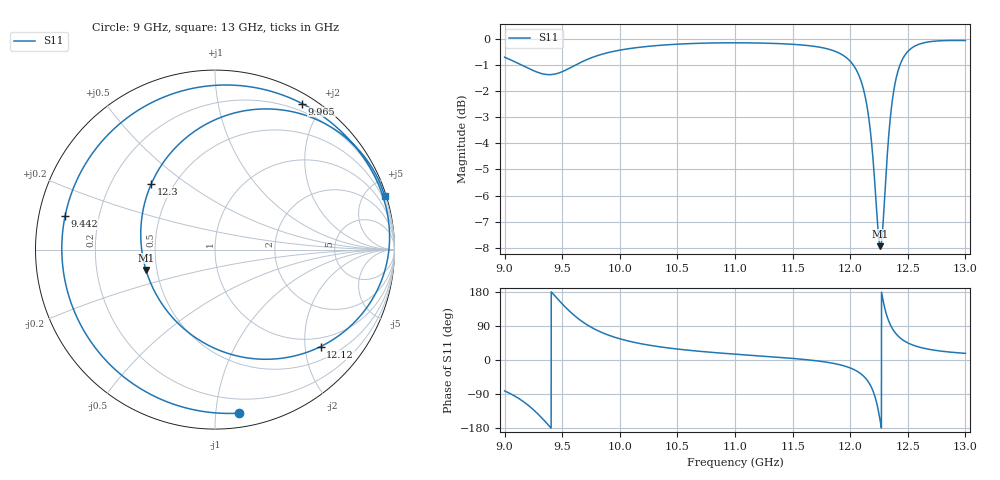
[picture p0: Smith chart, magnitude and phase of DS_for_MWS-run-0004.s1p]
! TOUCHSTONE file generated by CST DESIGN STUDIO
! Date and time: Tue Feb  4 17:47:16 2025
! Project name: C:\Work\MatlabApps\UnitCellOptimizationMatlab\CST\unitcell.cst
! Tree item: Tasks\Sweep1\SPara1\S-Parameters
! Header version: 2024
! Port assignment regex: !\s*Touchstone port\s*([0-9]+)\s*=\s*(CST MWS port|CST DES external port|CST DES block port)\s*(.+)\s* \(\"(.*)\"\)(\s*mode\s*([0-9]+))?.*
! Touchstone port assignment:
! Touchstone port 1 = CST DES external port 1 ("")
# GHz S MA R 50
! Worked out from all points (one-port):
!   4001 points, 9 GHz to 13 GHz, reference 50 ohm
!   lowest |S11| = -7.9 dB at 12.26 GHz (marker M1), VSWR 2.34, Z = 21.7 - j5.89 ohm
!   |S11| at or under -10 dB: nowhere
!   S11 on the Smith chart (normalised r, x): 9 GHz: 0.10, -1.15; 9.442 GHz: 0.08, +0.11; 9.965 GHz: 0.11, +1.76; 12.12 GHz: 0.78, -2.34; 12.3 GHz: 0.38, +0.37; 13 GHz: 0.18, +6.47
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9  0.9213 -81.6
9.129  0.8943 -102.8
9.23  0.8725 -125.8
9.348  0.8548 -161.0
9.442  0.856 167.3
9.5  0.8645 148.1
9.588  0.8837 122.0
9.682  0.9052 99.6
9.818  0.9297 76.1
9.965  0.9474 59.1
10  0.9506 56.0
10.214  0.965 41.2
10.5  0.9759 28.9
11  0.9818 15.4
11.5  0.9754 4.2
11.801  0.9561 -6.1
12  0.9053 -20.9
12.116  0.799 -42.5
12.201  0.5777 -84.0
12.231  0.4642 -114.8
12.262  0.401 -163.5
12.302  0.5097 134.2
12.336  0.6589 101.6
12.373  0.782 79.6
12.431  0.889 59.0
12.5  0.945 45.1
12.674  0.9852 28.8
13  0.9917 17.5
